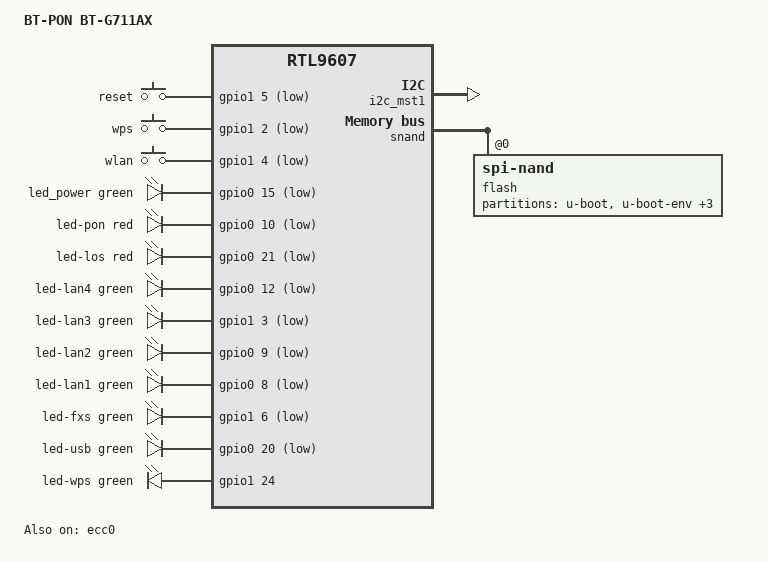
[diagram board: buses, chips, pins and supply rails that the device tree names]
// SPDX-License-Identifier: GPL-2.0-or-later OR MIT

/dts-v1/;

#include "rtl960x.dtsi"
#include <dt-bindings/gpio/gpio.h>
#include <dt-bindings/input/input.h>
#include <dt-bindings/leds/common.h>

/ {
	compatible = "bt-pon,bt-g711ax", "realtek,rtl9607-soc";

	model = "BT-PON BT-G711AX";

	aliases {
		led-boot = &led_power;
		led-failsafe = &led_power;
		led-running = &led_power;
		led-upgrade = &led_power;
	};

	keys {
		compatible = "gpio-keys";

		pinctrl-0 = <&pinmux_gpio_buttons>;
		pinctrl-names = "default";

		reset {
			label = "reset";
			gpios = <&gpio1 5 GPIO_ACTIVE_LOW>;
			linux,code = <KEY_RESTART>;
		};

		wps {
			label = "wps";
			gpios = <&gpio1 2 GPIO_ACTIVE_LOW>;
			linux,code = <BTN_0>;
		};

		wlan {
			label = "wlan";
			gpios = <&gpio1 4 GPIO_ACTIVE_LOW>;
			linux,code = <BTN_0>;
		};
	};

	leds {
		compatible = "gpio-leds";

		pinctrl-0 = <&pinmux_gpio0_leds>, <&pinmux_gpio1_leds>;
		pinctrl-names = "default";

		led_power: power {
			function = LED_FUNCTION_POWER;
			color = <LED_COLOR_ID_GREEN>;
			gpios = <&gpio0 15 GPIO_ACTIVE_LOW>;
		};

		led-pon {
			color = <LED_COLOR_ID_RED>;
			function = LED_FUNCTION_STATUS;
			gpios = <&gpio0 10 GPIO_ACTIVE_LOW>;
		};

		led-los {
			color = <LED_COLOR_ID_RED>;
			function = LED_FUNCTION_INDICATOR;
			gpios = <&gpio0 21 GPIO_ACTIVE_LOW>;
		};

		led-lan4 {
			color = <LED_COLOR_ID_GREEN>;
			function = LED_FUNCTION_LAN;
			function-enumerator = <4>;
			gpios = <&gpio0 12 GPIO_ACTIVE_LOW>;
		};

		led-lan3 {
			color = <LED_COLOR_ID_GREEN>;
			function = LED_FUNCTION_LAN;
			function-enumerator = <3>;
			gpios = <&gpio1 3 GPIO_ACTIVE_LOW>;
		};

		led-lan2 {
			color = <LED_COLOR_ID_GREEN>;
			function = LED_FUNCTION_LAN;
			function-enumerator = <2>;
			gpios = <&gpio0 9 GPIO_ACTIVE_LOW>;
		};

		led-lan1 {
			color = <LED_COLOR_ID_GREEN>;
			function = LED_FUNCTION_LAN;
			function-enumerator = <1>;
			gpios = <&gpio0 8 GPIO_ACTIVE_LOW>;
		};

		led-fxs {
			color = <LED_COLOR_ID_GREEN>;
			function = LED_FUNCTION_STATUS;
			gpios = <&gpio1 6 GPIO_ACTIVE_LOW>;
			default-state = "on";
			linux,default-trigger = "heartbeat";
		};

		led-usb {
			color = <LED_COLOR_ID_GREEN>;
			function = LED_FUNCTION_USB;
			gpios = <&gpio0 20 GPIO_ACTIVE_LOW>;
		};

		led-wps {
			color = <LED_COLOR_ID_GREEN>;
			function = LED_FUNCTION_WPS;
			gpios = <&gpio1 24 GPIO_ACTIVE_HIGH>;
		};
	};
};

&pinmux {
	pinmux_gpio_buttons: gpio-buttons {
		pinctrl-single,bits = <0x4 0x34 0x34>;
	};

	pinmux_gpio0_leds: gpio0-leds {
		pinctrl-single,bits = <0x0 0x301700 0x301700>;
	};

	pinmux_gpio1_leds: gpio1-leds {
		pinctrl-single,bits = <0x4 0x1000048 0x1000048>;
	};
};

&i2c_mst1 {
	status = "okay";

	/* i2c of the Laser Driver */
	i2c0: i2c@0 {
		reg = <0>;
	};
};

&ecc0 {
	status = "okay";
};

&snand {
	status= "okay";

	flash@0 {
		compatible = "spi-nand";
		reg = <0>;

		nand-ecc-engine = <&ecc0>;
		nand-ecc-strength = <6>;
		nand-ecc-step-size = <512>;
		nand-ecc-algo = "bch";
		nand-ecc-placement = "oob";

		partitions {
			compatible = "fixed-partitions";
			#address-cells = <1>;
			#size-cells = <1>;

			partition@0 {
				label = "u-boot";
				reg = <0x0 0xe0000>;
				read-only;
			};

			partition@e0000 {
				label = "u-boot-env";
				reg = <0xe0000 0x20000>;
			};

			partition@100000 {
				label = "u-boot-env2";
				reg = <0x100000 0x20000>;
			};

			partition@120000 {
				label = "static_conf";
				reg = <0x120000 0x20000>;
			};

			partition@140000 {
				label = "ubi";
				reg = <0x140000 0x7c40000>;
			};
		};
	};
};
